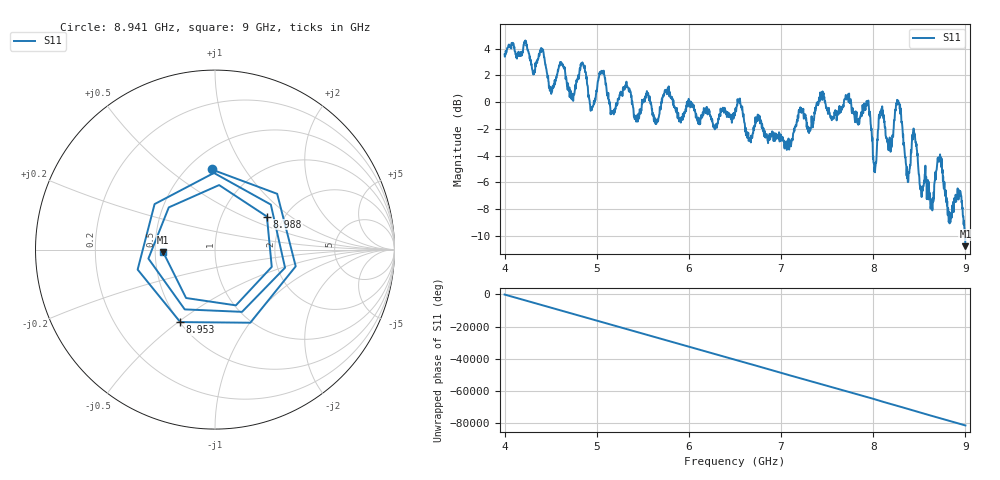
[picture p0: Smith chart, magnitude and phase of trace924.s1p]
! Created with skrf 1.8.0 (http://scikit-rf.org).
# Hz S RI R 50.0
!freq ReS11 ImS11
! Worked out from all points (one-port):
!   1601 points, 4 GHz to 9 GHz, reference 50 ohm
!   lowest |S11| = -10.8 dB at 9 GHz (marker M1), VSWR 1.81, Z = 27.6 - j0.82 ohm
!   |S11| at or under -10 dB: 8.996653 GHz to end of sweep
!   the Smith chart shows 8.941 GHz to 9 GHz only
!   S11 on the Smith chart (normalised r, x): 8.941 GHz: 0.65, +0.72; 8.953 GHz: 0.50, -0.51; 8.988 GHz: 1.64, +0.68; 9 GHz: 0.55, -0.02
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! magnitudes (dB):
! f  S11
! 4 GHz  3.6
! 4.406 GHz  4.0
! 4.506 GHz  0.6
! 4.625 GHz  2.9
! 4.731 GHz  0.2
! 4.85 GHz  2.9
! 4.947 GHz  -0.6
! 5.053 GHz  2.2
! 5.172 GHz  -0.8
! 5.25 GHz  0.5
! 5.875 GHz  -1.0
! 6.5 GHz  -0.7
! 7.125 GHz  -2.8
! 7.75 GHz  0.2
! 7.944 GHz  0.0
! 8.019 GHz  -5.2
! 8.084 GHz  -0.8
! 8.178 GHz  -2.6
! 8.272 GHz  0.1
! 8.375 GHz  -6.0
! 8.444 GHz  -2.3
! 8.634 GHz  -7.3
! 8.719 GHz  -4.3
! 8.828 GHz  -9.1
! 8.941 GHz  -7.0
! 8.953 GHz  -7.0
! 8.988 GHz  -9.3
! 9 GHz  -10.8
